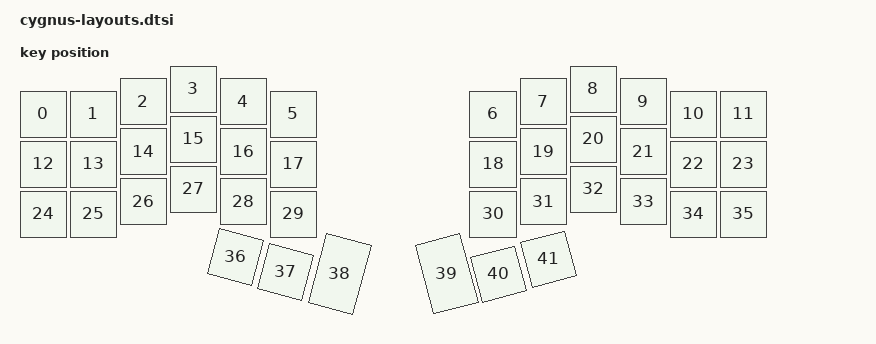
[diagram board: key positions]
#include <physical_layouts.dtsi>

/ {
    physical_layout_cygnus: physical_layout_cygnus {
        compatible = "zmk,physical-layout";
        display-name = "Cygnus";
        keys  //                     w   h    x    y     rot    rx    ry
            = <&key_physical_attrs 100 100    0   50       0     0    50>
            , <&key_physical_attrs 100 100  100   50       0   100    50>
            , <&key_physical_attrs 100 100  200   25       0   200    25>
            , <&key_physical_attrs 100 100  300    0       0   300     0>
            , <&key_physical_attrs 100 100  400   25       0   400    25>
            , <&key_physical_attrs 100 100  500   50       0   500    50>
            , <&key_physical_attrs 100 100  900   50       0   900    50>
            , <&key_physical_attrs 100 100 1000   25       0  1000    25>
            , <&key_physical_attrs 100 100 1100    0       0  1100     0>
            , <&key_physical_attrs 100 100 1200   25       0  1200    25>
            , <&key_physical_attrs 100 100 1300   50       0  1300    50>
            , <&key_physical_attrs 100 100 1400   50       0  1400    50>
            , <&key_physical_attrs 100 100    0  150       0     0   150>
            , <&key_physical_attrs 100 100  100  150       0   100   150>
            , <&key_physical_attrs 100 100  200  125       0   200   125>
            , <&key_physical_attrs 100 100  300  100       0   300   100>
            , <&key_physical_attrs 100 100  400  125       0   400   125>
            , <&key_physical_attrs 100 100  500  150       0   500   150>
            , <&key_physical_attrs 100 100  900  150       0   900   150>
            , <&key_physical_attrs 100 100 1000  125       0  1000   125>
            , <&key_physical_attrs 100 100 1100  100       0  1100   100>
            , <&key_physical_attrs 100 100 1200  125       0  1200   125>
            , <&key_physical_attrs 100 100 1300  150       0  1300   150>
            , <&key_physical_attrs 100 100 1400  150       0  1400   150>
            , <&key_physical_attrs 100 100    0  250       0     0   250>
            , <&key_physical_attrs 100 100  100  250       0   100   250>
            , <&key_physical_attrs 100 100  200  225       0   200   225>
            , <&key_physical_attrs 100 100  300  200       0   300   200>
            , <&key_physical_attrs 100 100  400  225       0   400   225>
            , <&key_physical_attrs 100 100  500  250       0   500   250>
            , <&key_physical_attrs 100 100  900  250       0   900   250>
            , <&key_physical_attrs 100 100 1000  225       0  1000   225>
            , <&key_physical_attrs 100 100 1100  200       0  1100   200>
            , <&key_physical_attrs 100 100 1200  225       0  1200   225>
            , <&key_physical_attrs 100 100 1300  250       0  1300   250>
            , <&key_physical_attrs 100 100 1400  250       0  1400   250>
            , <&key_physical_attrs 100 100  400  325    1500   400   325>
            , <&key_physical_attrs 100 100  500  355    1500   500   355>
            , <&key_physical_attrs 100 150  615  335    1500   615   335>
            , <&key_physical_attrs 100 150  790  360   34500   790   360>
            , <&key_physical_attrs 100 100  900  385   34500   900   385>
            , <&key_physical_attrs 100 100 1000  355   34500  1000   355>
            ;
    };
};
